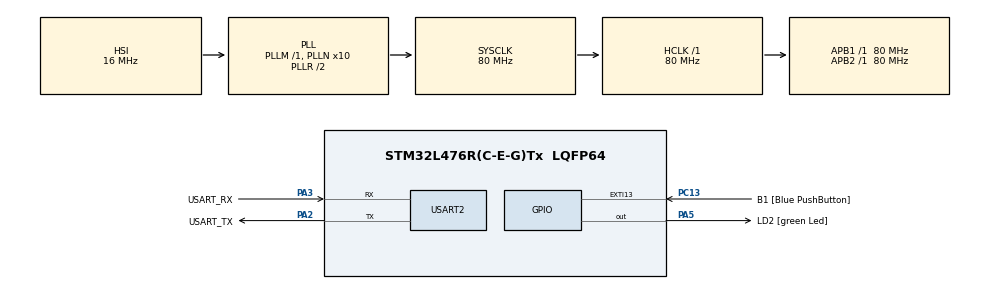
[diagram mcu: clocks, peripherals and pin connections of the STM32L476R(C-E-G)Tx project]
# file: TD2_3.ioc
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Mcu.Family=STM32L4
Mcu.Name=STM32L476R(C-E-G)Tx
Mcu.Package=LQFP64
NVIC.PriorityGroup=NVIC_PRIORITYGROUP_4
PA13\ (JTMS-SWDIO).GPIO_Label=TMS
PA13\ (JTMS-SWDIO).Mode=Serial_Wire
PA13\ (JTMS-SWDIO).Signal=SYS_JTMS-SWDIO
PA14\ (JTCK-SWCLK).GPIO_Label=TCK
PA14\ (JTCK-SWCLK).Mode=Serial_Wire
PA14\ (JTCK-SWCLK).Signal=SYS_JTCK-SWCLK
PA2.GPIO_Label=USART_TX
PA2.GPIO_Mode=GPIO_MODE_AF_PP
PA2.GPIO_PuPd=GPIO_NOPULL
PA2.GPIO_Speed=GPIO_SPEED_FREQ_VERY_HIGH
PA2.Mode=Asynchronous
PA2.Signal=USART2_TX
PA3.GPIO_Label=USART_RX
PA3.GPIO_Mode=GPIO_MODE_AF_PP
PA3.GPIO_PuPd=GPIO_NOPULL
PA3.GPIO_Speed=GPIO_SPEED_FREQ_VERY_HIGH
PA3.Mode=Asynchronous
PA3.Signal=USART2_RX
PA5.GPIO_Label=LD2 [green Led]
PA5.GPIO_ModeDefaultOutputPP=GPIO_MODE_OUTPUT_PP
PA5.GPIO_PuPd=GPIO_NOPULL
PA5.GPIO_Speed=GPIO_SPEED_FREQ_LOW
PA5.Signal=GPIO_Output
PB3\ (JTDO-TRACESWO).GPIO_Label=SWO
PB3\ (JTDO-TRACESWO).Signal=SYS_JTDO-SWO
PC13.GPIO_Label=B1 [Blue PushButton]
PC13.GPIO_ModeDefaultEXTI=GPIO_MODE_IT_FALLING
PC13.GPIO_PuPd=GPIO_NOPULL
PC13.Signal=GPXTI13
PC14-OSC32_IN\ (PC14).Mode=LSE-External-Oscillator
PC14-OSC32_IN\ (PC14).Signal=RCC_OSC32_IN
PC15-OSC32_OUT\ (PC15).Mode=LSE-External-Oscillator
PC15-OSC32_OUT\ (PC15).Signal=RCC_OSC32_OUT
PH0-OSC_IN\ (PH0).Signal=RCC_OSC_IN
PH1-OSC_OUT\ (PH1).Signal=RCC_OSC_OUT
ProjectManager.HeapSize=0x200
ProjectManager.StackSize=0x400
ProjectManager.TargetToolchain=STM32CubeIDE
RCC.ADCFreq_Value=64000000
RCC.AHBFreq_Value=80000000
RCC.APB1Freq_Value=80000000
RCC.APB1TimFreq_Value=80000000
RCC.APB2Freq_Value=80000000
RCC.APB2TimFreq_Value=80000000
RCC.CortexFreq_Value=80000000
RCC.HCLKFreq_Value=80000000
RCC.HSE_VALUE=8000000
RCC.HSI_VALUE=16000000
RCC.MSI_VALUE=4000000
RCC.PLLN=10
RCC.PLLSourceVirtual=RCC_PLLSOURCE_HSI
RCC.PREFETCH_ENABLE=1
RCC.SYSCLKFreq_VALUE=80000000
RCC.SYSCLKSource=RCC_SYSCLKSOURCE_PLLCLK
RCC.USBFreq_Value=64000000
RCC.VCOOutputFreq_Value=160000000
USART2.VirtualMode-Asynchronous=VM_ASYNC
board=NUCLEO-L476RG

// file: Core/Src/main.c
/* USER CODE BEGIN Header */
/**
  ******************************************************************************
  * @file           : main.c
  * @brief          : Main program body
  ******************************************************************************
  * @attention
  *
  * Copyright (c) 2025 STMicroelectronics.
  * All rights reserved.
  *
  * This software is licensed under terms that can be found in the LICENSE file
  * in the root directory of this software component.
  * If no LICENSE file comes with this software, it is provided AS-IS.
  *
  ******************************************************************************
  */
/* USER CODE END Header */
#include "main.h"

/* USER CODE BEGIN Includes */
#include <stdio.h>
/* USER CODE END Includes */

UART_HandleTypeDef huart2;

void SystemClock_Config(void);
static void MX_GPIO_Init(void);
static void MX_USART2_UART_Init(void);

/* USER CODE BEGIN 0 */
int __io_putchar(int ch){
	HAL_UART_Transmit(&huart2, (uint8_t *)&ch, 1, HAL_MAX_DELAY);
	return ch;
}

int __io_getchar(void){
	uint8_t ch = 0;
	__HAL_UART_CLEAR_OREFLAG(&huart2);
	HAL_UART_Receive(&huart2, (uint8_t *)&ch, 1, HAL_MAX_DELAY);
	HAL_UART_Transmit(&huart2, (uint8_t *)&ch, 1, HAL_MAX_DELAY);
	return ch;
}
/* USER CODE END 0 */

int main(void)
{

  /* MCU Configuration--------------------------------------------------------*/

  /* Reset of all peripherals, Initializes the Flash interface and the Systick. */
  HAL_Init();

  /* Configure the system clock */
  SystemClock_Config();

  /* Initialize all configured peripherals */
  MX_GPIO_Init();
  MX_USART2_UART_Init();
  /* USER CODE BEGIN 2 */
  uint8_t c;
  for(c=0; c<=254; c++){
	  printf("c = %d %x %c \n\r", c, c, c);
  }
  printf("c = %d %x %c \n\r", c, c, c);
  c++;
  printf("c = %d %x %c \n\r", c, c, c);

  /* USER CODE END 2 */

  /* Infinite loop */
  while (1)
  {

  }
}

void SystemClock_Config(void)
{
  RCC_OscInitTypeDef RCC_OscInitStruct = {0};
  RCC_ClkInitTypeDef RCC_ClkInitStruct = {0};

  /** Configure the main internal regulator output voltage
  */
  if (HAL_PWREx_ControlVoltageScaling(PWR_REGULATOR_VOLTAGE_SCALE1) != HAL_OK)
  {
    Error_Handler();
  }

  /** Initializes the RCC Oscillators according to the specified parameters
  * in the RCC_OscInitTypeDef structure.
  */
  RCC_OscInitStruct.OscillatorType = RCC_OSCILLATORTYPE_HSI;
  RCC_OscInitStruct.HSIState = RCC_HSI_ON;
  RCC_OscInitStruct.HSICalibrationValue = RCC_HSICALIBRATION_DEFAULT;
  RCC_OscInitStruct.PLL.PLLState = RCC_PLL_ON;
  RCC_OscInitStruct.PLL.PLLSource = RCC_PLLSOURCE_HSI;
  RCC_OscInitStruct.PLL.PLLM = 1;
  RCC_OscInitStruct.PLL.PLLN = 10;
  RCC_OscInitStruct.PLL.PLLP = RCC_PLLP_DIV7;
  RCC_OscInitStruct.PLL.PLLQ = RCC_PLLQ_DIV2;
  RCC_OscInitStruct.PLL.PLLR = RCC_PLLR_DIV2;
  if (HAL_RCC_OscConfig(&RCC_OscInitStruct) != HAL_OK)
  {
    Error_Handler();
  }

  /** Initializes the CPU, AHB and APB buses clocks
  */
  RCC_ClkInitStruct.ClockType = RCC_CLOCKTYPE_HCLK|RCC_CLOCKTYPE_SYSCLK
                              |RCC_CLOCKTYPE_PCLK1|RCC_CLOCKTYPE_PCLK2;
  RCC_ClkInitStruct.SYSCLKSource = RCC_SYSCLKSOURCE_PLLCLK;
  RCC_ClkInitStruct.AHBCLKDivider = RCC_SYSCLK_DIV1;
  RCC_ClkInitStruct.APB1CLKDivider = RCC_HCLK_DIV1;
  RCC_ClkInitStruct.APB2CLKDivider = RCC_HCLK_DIV1;

  if (HAL_RCC_ClockConfig(&RCC_ClkInitStruct, FLASH_LATENCY_4) != HAL_OK)
  {
    Error_Handler();
  }
}

static void MX_USART2_UART_Init(void)
{

  huart2.Instance = USART2;
  huart2.Init.BaudRate = 115200;
  huart2.Init.WordLength = UART_WORDLENGTH_8B;
  huart2.Init.StopBits = UART_STOPBITS_1;
  huart2.Init.Parity = UART_PARITY_NONE;
  huart2.Init.Mode = UART_MODE_TX_RX;
  huart2.Init.HwFlowCtl = UART_HWCONTROL_NONE;
  huart2.Init.OverSampling = UART_OVERSAMPLING_16;
  huart2.Init.OneBitSampling = UART_ONE_BIT_SAMPLE_DISABLE;
  huart2.AdvancedInit.AdvFeatureInit = UART_ADVFEATURE_NO_INIT;
  if (HAL_UART_Init(&huart2) != HAL_OK)
  {
    Error_Handler();
  }

}

static void MX_GPIO_Init(void)
{
  GPIO_InitTypeDef GPIO_InitStruct = {0};

  /* GPIO Ports Clock Enable */
  __HAL_RCC_GPIOC_CLK_ENABLE();
  __HAL_RCC_GPIOH_CLK_ENABLE();
  __HAL_RCC_GPIOA_CLK_ENABLE();
  __HAL_RCC_GPIOB_CLK_ENABLE();

  /*Configure GPIO pin Output Level */
  HAL_GPIO_WritePin(LD2_GPIO_Port, LD2_Pin, GPIO_PIN_RESET);

  /*Configure GPIO pin : B1_Pin */
  GPIO_InitStruct.Pin = B1_Pin;
  GPIO_InitStruct.Mode = GPIO_MODE_IT_FALLING;
  GPIO_InitStruct.Pull = GPIO_NOPULL;
  HAL_GPIO_Init(B1_GPIO_Port, &GPIO_InitStruct);

  /*Configure GPIO pin : LD2_Pin */
  GPIO_InitStruct.Pin = LD2_Pin;
  GPIO_InitStruct.Mode = GPIO_MODE_OUTPUT_PP;
  GPIO_InitStruct.Pull = GPIO_NOPULL;
  GPIO_InitStruct.Speed = GPIO_SPEED_FREQ_LOW;
  HAL_GPIO_Init(LD2_GPIO_Port, &GPIO_InitStruct);

}

void Error_Handler(void)
{
  __disable_irq();
  while (1)
  {
  }
}
